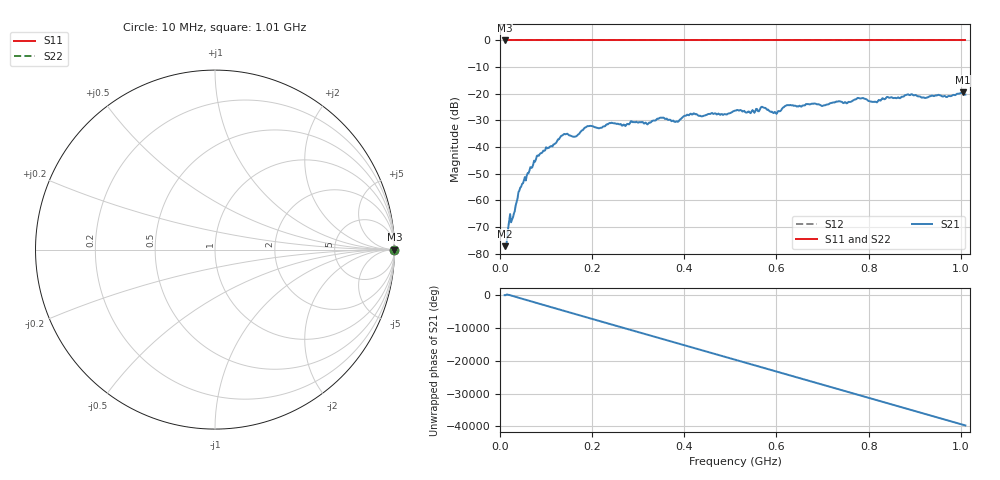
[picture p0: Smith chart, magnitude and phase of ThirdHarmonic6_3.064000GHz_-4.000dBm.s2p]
! 8/17/2025 8:56:09 AM
! C:\ANRITSUVNA\TEMP\TEMP.S2P
! CHANNEL.1
! TR.MEASUREMENT
! RAW.DATA
! RF.CORRECTION.OFF
! AVERAGING.OFF
! IF.BANDWIDTH: 5KHZ
! SWEEPTYPE:  FREQ.SWEEP(Linear)
! Reference Plane Port Info
! PORT:  PORT1  PORT2
! DISTANCE:  0  m  0  m
! TIME:  0  s  0  s
! PHASE.OFFSET:  0  deg.  0  deg.
! LOSS:  0  dB  0  dB
! REF.LOSS:  0  dB  0  dB
! REF.FREQ:  0  Hz  0  Hz
! Power Info
! POWER:  -20  dBm  -20  dBm
! EFF.POWER:  -20  dBm  -20  dBm
! SOURCE.ATTEN:  0  dB  0  dB
! TEST.ATTEN:  0  dB  0  dB
# GHZ S RI R 50.0
! FREQ.GHZ  S11RE  S11IM  S21RE  S21IM  S12RE  S12IM  S22RE  S22IM
!; PortSelection: Port_12
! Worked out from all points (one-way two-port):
!   501 points, 10 MHz to 1.01 GHz, reference 50 ohm
!   highest |S21| = -19.52 dB at 1.004 GHz (marker M1); lowest = -77.2 dB at 10 MHz (marker M2)
!   lowest |S11| = 0.0 dB at 10 MHz (marker M3)
!   |S11| at or under -10 dB: nowhere
!   |S22| runs from 0.0 to 0.0 dB; largest |S21 - S12| = 1.1
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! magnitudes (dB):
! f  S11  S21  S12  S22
! 10 MHz  0.0  -77.2  0.0  0.0
! 20 MHz  0.0  -67.6  0.0  0.0
! 28 MHz  0.0  -66.6  0.0  0.0
! 44 MHz  0.0  -55.3  0.0  0.0
! 78 MHz  0.0  -44.6  0.0  0.0
! 136 MHz  0.0  -35.6  0.0  0.0
! 162 MHz  0.0  -36.1  0.0  0.0
! 178 MHz  0.0  -33.8  0.0  0.0
! 192 MHz  0.0  -32.2  0.0  0.0
! 344 MHz  0.0  -29.4  0.0  0.0
! 382 MHz  0.0  -30.5  0.0  0.0
! 410 MHz  0.0  -28.1  0.0  0.0
! 510 MHz  0.0  -26.4  0.0  0.0
! 570 MHz  0.0  -25.0  0.0  0.0
! 598 MHz  0.0  -27.0  0.0  0.0
! 622 MHz  0.0  -24.3  0.0  0.0
! 678 MHz  0.0  -23.8  0.0  0.0
! 780 MHz  0.0  -21.7  0.0  0.0
! 814 MHz  0.0  -23.0  0.0  0.0
! 844 MHz  0.0  -21.5  0.0  0.0
! 1.004 GHz  0.0  -19.5  0.0  0.0
! 1.01 GHz  0.0  -20.3  0.0  0.0
